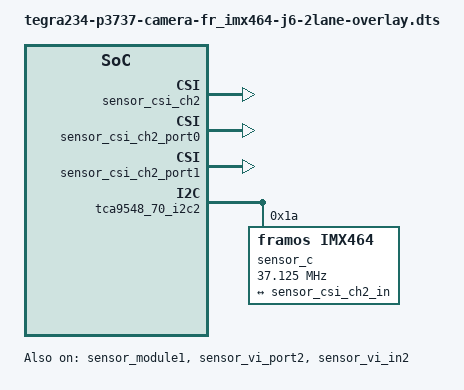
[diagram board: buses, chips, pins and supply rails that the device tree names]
// SPDX-License-Identifier: GPL-2.0
/*
 * Copyright (c) 2024 Framos. All rights reserved.
 *
 * tegra234-p3737-camera-fr_imx464-j6-2lane-overlay.dts - IMX412 sensor device tree
 */

/dts-v1/;
/plugin/;

#include <dt-bindings/clock/tegra234-clock.h>
#include <dt-bindings/gpio/tegra234-gpio.h>
#include <dt-bindings/tegra234-p3737-0000+p3701-0000.h>


/ {
	overlay-name = "Framos IMX464-J6-2Lane";
	jetson-header-name = "Jetson AGX CSI Connector";
	compatible = JETSON_COMPATIBLE;

	fragment@0 {
		target = <&sensor_module1>;
		__overlay__ {
			status = "okay";
			badge = "imx464_centerright_framos";
			drivernode0 {
				status = "okay";
				/* Declare PCL support driver (classically known as guid) */
				devname = "imx464 11-001a";
				/* Declare the device-tree hierarchy to driver instance */
				sysfs-device-tree = "/sys/firmware/devicetree/base/bus@0/i2c@3180000/tca9548@70/i2c@2/imx464_c@1a";
			};
		};
	};

	fragment@1 {
		target = <&sensor_vi_port2>;
		__overlay__ {
			status = "okay";
		};
	};

	fragment@2 {
		target = <&sensor_vi_in2>;
		__overlay__ {
			status = "okay";
			bus-width = <2>;
		};
	};

	fragment@3 {
		target = <&sensor_csi_ch2>;
		__overlay__ {
			status = "okay";
			ports {
				status = "okay";
			};
		};
	};

	fragment@4 {
		target = <&sensor_csi_ch2_port0>;
		__overlay__ {
			status = "okay";
		};
	};

	fragment@5 {
		target = <&sensor_csi_ch2_in>;
		__overlay__ {
			status = "okay";
			bus-width = <2>;
			remote-endpoint = <&sensor_out_c>;
		};
	};

	fragment@6 {
		target = <&sensor_csi_ch2_port1>;
		__overlay__ {
			status = "okay";
		};
	};

	fragment@7 {
		target = <&sensor_csi_ch2_out>;
		__overlay__ {
			status = "okay";
		};
	};

	fragment@8 {
		target = <&tca9548_70_i2c2>;
		__overlay__ {
			sensor_c: imx464_c@1a {
				compatible = "framos,imx464";
				reg = <0x1a>;

				/* Define any required hw resources needed by driver */
				/* ie. clocks, io pins, power sources */
				clocks = <&bpmp TEGRA234_CLK_EXTPERIPH1>, <&bpmp TEGRA234_CLK_EXTPERIPH1>;
				clock-names = "extperiph1", "pllp_grtba";
				mclk = "extperiph1";
				clock-frequency = <37125000>;

				devnode = "video2";

				physical_w = "15.00";
				physical_h = "12.50";

				sensor_model ="imx464";

				/* Defines number of frames to be dropped by driver internally after applying */
				/* sensor crop settings. Some sensors send corrupt frames after applying */
				/* crop co-ordinates */
				post_crop_frame_drop = "0";

				/* Convert Gain to unit of dB (decibel) befor passing to kernel driver */
				use_decibel_gain = "true";

				/* if true, delay gain setting by one frame to be in sync with exposure */
				delayed_gain = "false";

				/* enable CID_SENSOR_MODE_ID for sensor modes selection */
				use_sensor_mode_id = "false";

				mode0 {
					mclk_khz = "37125";
					num_lanes = "2";
					tegra_sinterface = "serial_c";
					vc_id = "0";
					phy_mode = "DPHY";
					discontinuous_clk = "no";
					dpcm_enable = "false";
					cil_settletime = "0";
					active_w = "2712";
					active_h = "1538";

					dynamic_pixel_bit_depth = "10";
					csi_pixel_bit_depth = "10";
					mode_type = "bayer";
					pixel_phase = "rggb";

					readout_orientation = "0";
					line_length = "2800";
					inherent_gain = "1";
					pix_clk_hz = "237600000";
					serdes_pix_clk_hz = "12000000000"; /* GMSL predefine */

					gain_factor = "10";
					min_gain_val = "0"; /* 0dB */
					max_gain_val = "720"; /* 72dB */
					step_gain_val = "3"; /* 0.3 */
					default_gain = "0";
					min_hdr_ratio = "1";
					max_hdr_ratio = "64";
					framerate_factor = "1000000";
					min_framerate = "1500000"; /* 1.5 */
					max_framerate = "30000000"; /* 30 */
					step_framerate = "1";
					default_framerate= "30000000";
					exposure_factor = "1000000";
					min_exp_time = "20"; /* us */
					max_exp_time = "660000"; /* us */
					step_exp_time = "1";
					default_exp_time = "10000";/* us */
					embedded_metadata_height = "1";
				};
				mode1 {
					mclk_khz = "37125";
					num_lanes = "2";
					tegra_sinterface = "serial_c";
					vc_id = "0";
					phy_mode = "DPHY";
					discontinuous_clk = "no";
					dpcm_enable = "false";
					cil_settletime = "0";
					active_w = "1920";
					active_h = "1080";

					dynamic_pixel_bit_depth = "10";
					csi_pixel_bit_depth = "10";
					mode_type = "bayer";
					pixel_phase = "rggb";

					readout_orientation = "0";
					line_length = "2800";
					inherent_gain = "1";
					pix_clk_hz = "237600000";
					serdes_pix_clk_hz = "12000000000"; /* GMSL predefine */

					gain_factor = "10";
					min_gain_val = "0"; /* 0dB */
					max_gain_val = "720"; /* 72dB */
					step_gain_val = "3"; /* 0.3 */
					default_gain = "0";
					min_hdr_ratio = "1";
					max_hdr_ratio = "64";
					framerate_factor = "1000000";
					min_framerate = "1500000"; /* 1.5 */
					max_framerate = "41000000"; /* 41 */
					step_framerate = "1";
					default_framerate= "30000000";
					exposure_factor = "1000000";
					min_exp_time = "20"; /* us */
					max_exp_time = "660000"; /* us */
					step_exp_time = "1";
					default_exp_time = "10000";/* us */
					embedded_metadata_height = "1";
				};
				mode2 {
					mclk_khz = "37125";
					num_lanes = "2";
					tegra_sinterface = "serial_c";
					vc_id = "0";
					phy_mode = "DPHY";
					discontinuous_clk = "no";
					dpcm_enable = "false";
					cil_settletime = "0";
					active_w = "2712";
					active_h = "1538";

					dynamic_pixel_bit_depth = "12";
					csi_pixel_bit_depth = "12";
					mode_type = "bayer";
					pixel_phase = "rggb";

					readout_orientation = "0";
					line_length = "2800";
					inherent_gain = "1";
					pix_clk_hz = "237600000";
					serdes_pix_clk_hz = "12000000000"; /* GMSL predefine */

					gain_factor = "10";
					min_gain_val = "0"; /* 0dB */
					max_gain_val = "720"; /* 72dB */
					step_gain_val = "3"; /* 0.3 */
					default_gain = "0";
					min_hdr_ratio = "1";
					max_hdr_ratio = "64";
					framerate_factor = "1000000";
					min_framerate = "1500000"; /* 1.5 */
					max_framerate = "30000000"; /* 30 */
					step_framerate = "1";
					default_framerate = "30000000";
					exposure_factor = "1000000";
					min_exp_time = "20"; /* us */
					max_exp_time = "660000"; /* us */
					step_exp_time = "1";
					default_exp_time = "10000";/* us */
					embedded_metadata_height = "1";
				};
				mode3 {
					mclk_khz = "37125";
					num_lanes = "2";
					tegra_sinterface = "serial_c";
					vc_id = "0";
					phy_mode = "DPHY";
					discontinuous_clk = "no";
					dpcm_enable = "false";
					cil_settletime = "0";
					active_w = "1920";
					active_h = "1080";

					dynamic_pixel_bit_depth = "12";
					csi_pixel_bit_depth = "12";
					mode_type = "bayer";
					pixel_phase = "rggb";

					readout_orientation = "0";
					line_length = "2800";
					inherent_gain = "1";
					pix_clk_hz = "237600000";
					serdes_pix_clk_hz = "12000000000"; /* GMSL predefine */

					gain_factor = "10";
					min_gain_val = "0"; /* 0dB */
					max_gain_val = "720"; /* 72dB */
					step_gain_val = "3"; /* 0.3 */
					default_gain = "0";
					min_hdr_ratio = "1";
					max_hdr_ratio = "64";
					framerate_factor = "1000000";
					min_framerate = "1500000"; /* 1.5 */
					max_framerate = "41000000"; /* 41 */
					step_framerate = "1";
					default_framerate= "30000000";
					exposure_factor = "1000000";
					min_exp_time = "20"; /* us */
					max_exp_time = "660000"; /* us */
					step_exp_time = "1";
					default_exp_time = "10000";/* us */
					embedded_metadata_height = "1";
				};
				ports {
					#address-cells = <1>;
					#size-cells = <0>;
					port@0 {
						reg = <0>;
						sensor_out_c: endpoint {
							vc-id = <0>;
							port-index = <2>;
							bus-width = <2>;
							remote-endpoint = <&sensor_csi_ch2_in>;
						};
					};
				};
			};
		};
	};

};
